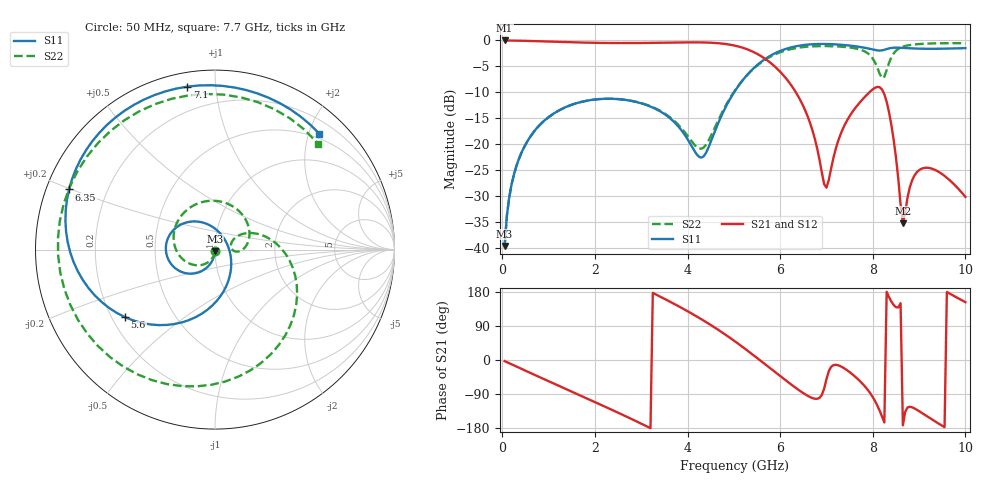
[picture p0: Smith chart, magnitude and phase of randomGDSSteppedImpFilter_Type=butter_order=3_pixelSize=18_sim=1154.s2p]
! freq	dB(S11)	phase(S11)	dB(S12)	phase(S12)
!  dB(S21)	phase(S21)	dB(S22)	phase(S22)
!S-par simulation data
#  GHz  S  DB  R 50
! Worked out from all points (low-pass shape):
!   200 points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, 50 MHz to 10 GHz, reference 50 ohm
!   highest |S21| = -0.01 dB at 50 MHz (marker M1); lowest = -35.2 dB at 8.65 GHz (marker M2)
!   |S21| within 3 dB of the highest: start of sweep to 5.584 GHz
!   lowest |S11| = -39.6 dB at 50 MHz (marker M3), VSWR 1.02, Z = 50 - j1.04 ohm
!   |S11| at or under -10 dB: start of sweep to 5.006 GHz
!   |S22| runs from -39.7 to -0.5 dB; largest |S21 - S12| = 0
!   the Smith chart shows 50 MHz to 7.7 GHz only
!   S11 on the Smith chart (normalised r, x): 50 MHz: 1.00, -0.02; 5.6 GHz: 0.25, -0.31; 6.35 GHz: 0.07, +0.20; 7.1 GHz: 0.07, +0.84; 7.7 GHz: 0.42, +2.18
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0.05  -39.64 -90.6  -0.01 -2.9  -0.01 -2.9  -39.66 -93.1
0.2  -27.79 -98.8  -0.02 -11.3  -0.02 -11.3  -27.80 -104.1
0.5  -20.09 -111.8  -0.08 -28.2  -0.08 -28.2  -20.12 -125.5
1.75  -11.76 -162.4  -0.42 -97.3  -0.42 -97.3  -11.77 146.4
2.65  -11.46 163.7  -0.51 -147.6  -0.51 -147.6  -11.44 80.2
3.4  -13.63 131.8  -0.45 167.8  -0.45 167.8  -13.52 24.4
4.3  -22.59 22.3  -0.38 107.6  -0.38 107.6  -20.87 11.8
5.05  -9.40 -97.4  -1.06 46.9  -1.06 46.9  -9.30 5.8
5.6  -4.06 -143.1  -3.09 -4.1  -3.09 -4.1  -4.19 -50.6
6  -2.03 -175.1  -6.03 -42.5  -6.03 -42.5  -2.29 -97.5
6.35  -1.11 157.6  -10.16 -74.8  -10.16 -74.8  -1.47 -140.4
6.7  -0.73 130.8  -17.41 -100.6  -17.41 -100.6  -1.14 175.7
6.95  -0.68 111.5  -27.71 -75.6  -27.71 -75.6  -1.09 144.0
7.1  -0.72 99.6  -24.71 -18.1  -24.71 -18.1  -1.11 125.1
7.7  -1.22 48.0  -12.16 -53.0  -12.16 -53.0  -1.69 45.7
7.95  -1.65 23.9  -9.80 -88.5  -9.80 -88.5  -2.94 -1.5
8.15  -1.95 5.4  -9.03 -134.2  -9.03 -134.2  -6.45 -82.3
8.25  -1.80 -4.0  -10.38 -164.8  -10.38 -164.8  -6.98 -160.1
8.35  -1.54 -15.4  -13.79 166.1  -13.79 166.1  -4.35 136.0
8.65  -1.44 -53.9  -35.24 -172.4  -35.24 -172.4  -1.21 56.0
9.05  -1.60 -102.0  -24.74 -138.9  -24.74 -138.9  -0.67 13.9
10  -1.49 168.9  -30.15 152.6  -30.15 152.6  -0.53 -38.9
